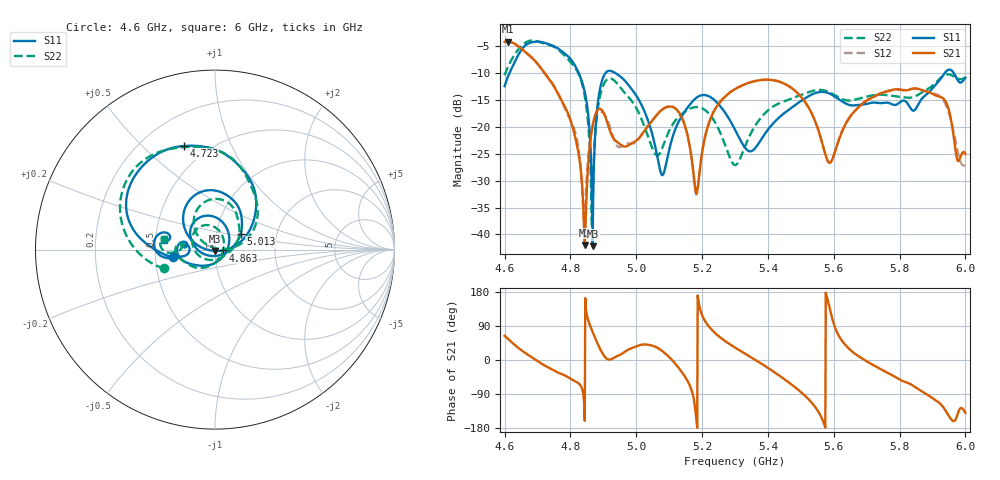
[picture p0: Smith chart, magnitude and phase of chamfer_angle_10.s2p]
! TOUCHSTONE file generated by CST MICROWAVE STUDIO
! Date and time: Sat Nov 30 03:29:17 2024
! Project name: test_tuning.cst
! Parameters = {airCoaxOuterDiameter=3; chamferAngle=53; chamferWidth=24; connectorLength=10; drillingHoleDiameter=4.1; feedLength=60; flareDiameter=130; flareLength=70; gratingDistance=0; gratingGap=1.90274; outletLength=30; polarizerLength=134; probe1Diameter=1.3; probe1Distance=14; probe1Length=1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
! Header version: 2024
! Port assignment regex: !\s*Touchstone port\s*([0-9]+)\s*=\s*(CST MWS port|CST DES external port|CST DES block port)\s*(.+)\s* \(\"(.*)\"\)(\s*mode\s*([0-9]+))?.*
! Touchstone port assignment:
! Touchstone port 1 = CST MWS port 1 ("Input1")
! Touchstone port 2 = CST MWS port 2 ("Input2")
# GHz S MA R 50
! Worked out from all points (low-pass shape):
!   1001 points, 4.6 GHz to 6 GHz, reference 50 ohm
!   highest |S21| = -4.12 dB at 4.61 GHz (marker M1); lowest = -42.0 dB at 4.844 GHz (marker M2)
!   |S21| within 3 dB of the highest: start of sweep to 4.682 GHz
!   lowest |S11| = -42.2 dB at 4.867 GHz (marker M3), VSWR 1.02, Z = 49.7 - j0.726 ohm
!   |S11| at or under -10 dB: 4.825 GHz to 4.906 GHz (81.12 MHz wide, 1.67 % of centre); 4.937 GHz to 5.937 GHz (999.9 MHz wide, 18.4 % of centre); 5.965 GHz to end of sweep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
!   |S22| runs from -40.8 to -3.9 dB; largest |S21 - S12| = 0.015
!   S11 on the Smith chart (normalised r, x): 4.6 GHz: 0.62, -0.06; 4.723 GHz: 0.37, +0.67; 4.863 GHz: 1.09, -0.01; 5.013 GHz: 1.31, +0.24; 6 GHz: 0.56, +0.06
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4.6  0.2392 -169.8  0.6172 63.8  0.6245 63.6  0.3022 -159.7
4.6098  0.2915 -175.5  0.6224 56.3  0.6254 55.7  0.3595 -167.7
4.7232  0.6033 106.9  0.3125 -15.3  0.3114 -14.6  0.5928 105.4
4.8114  0.3832 54.1  0.08764 -55.0  0.09608 -52.6  0.367 52.1
4.8338  0.2706 37.1  0.03346 -72.6  0.03321 -90.9  0.2621 30.9
4.8436  0.2105 27.4  0.007959 -160.5  0.01502 154.4  0.1928 19.4
4.8632  0.04234 -6.6  0.08561 83.0  0.08686 75.7  0.02306 10.3
4.8674  0.007771 -110.2  0.1028 74.0  0.1004 67.9  0.0186 137.5
4.8828  0.1634 153.5  0.1439 42.7  0.1335 42.2  0.1457 137.4
4.9052  0.3127 115.9  0.1258 7.7  0.1284 11.7  0.2627 106.7
5.013  0.1672 31.5  0.08207 39.8  0.08151 40.8  0.1244 16.0
5.0676  0.04645 -37.3  0.1351 30.5  0.1336 30.3  0.05486 -82.8
5.1362  0.1229 166.3  0.1261 -29.1  0.1257 -29.3  0.13 165.2
5.1824  0.1865 134.0  0.02397 -155.5  0.02347 -153.8  0.1532 130.0
5.2244  0.1903 98.2  0.1166 84.6  0.1176 84.6  0.129 93.7
5.3  0.0943 32.5  0.2248 32.8  0.2253 32.8  0.04422 -19.1
5.3518  0.05991 -51.0  0.2629 5.5  0.263 5.7  0.09147 -104.6
5.5338  0.2008 -166.9  0.1322 -113.3  0.1321 -113.6  0.2154 -172.5
5.5884  0.2037 171.4  0.0465 134.2  0.04623 135.0  0.2088 171.8
5.7676  0.1671 170.8  0.2156 -35.5  0.2188 -35.7  0.1962 171.5
5.9244  0.2796 -170.7  0.19 -116.1  0.1908 -118.6  0.285 -178.7
6  0.2863 169.3  0.05607 -139.4  0.04361 -130.7  0.2893 167.8
